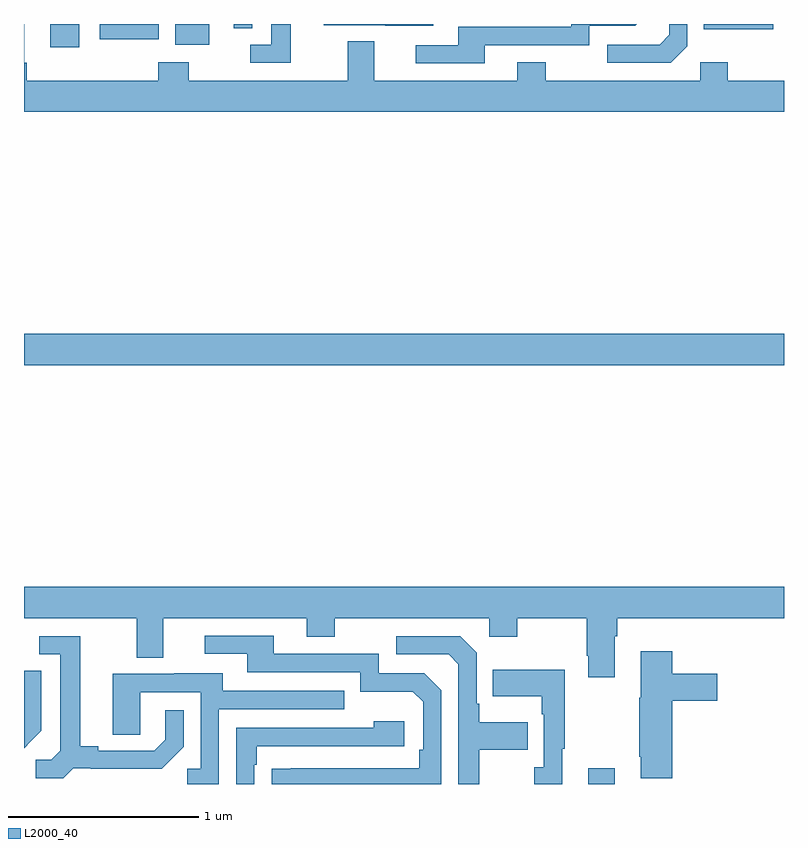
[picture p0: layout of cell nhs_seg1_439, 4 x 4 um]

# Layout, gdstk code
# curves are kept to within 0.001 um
import gdstk
lib = gdstk.Library(unit=1e-6, precision=1e-09)
def R(c, l, rs):  # rectangles x0, y0, x1, y1
    for r in rs: c.add(gdstk.rectangle(r[:2], r[2:], *l))
def P(c, l, *ps):  # polygons
    for p in ps: c.add(gdstk.Polygon(p, *l))
L2000_40 = (2000, 40)

nhs_seg1_439 = lib.new_cell('nhs_seg1_439')
R(nhs_seg1_439, L2000_40, [(137.969,544.199,138.109,544.282), (135,546.404,139,546.568), (135.137,548.076,135.292,548.199), (135.797,548.09,135.976,548.199), (135.399,548.119,135.708,548.199), (138.577,548.171,138.944,548.199), (136.104,548.176,136.2,548.199)])
P(nhs_seg1_439, L2000_40, [(138.492,548.082),(138.492,548.199),(138.396,548.199),(138.396,548.142),(138.345,548.091),(138.069,548.091),(138.069,547.995),(138.405,547.995)],
  [(139,547.9),(138.705,547.9),(138.705,547.999),(138.558,547.999),(138.558,547.9),(137.745,547.9),(137.745,547.999),(137.597,547.999),(137.597,547.9),(136.843,547.9),(136.843,548.108),(136.703,548.108),(136.703,547.9),(135.867,547.9),(135.867,547.999),(135.707,547.999),(135.707,547.9),(135.014,547.9),(135.014,547.996),(135.001,547.996),(135.001,548.199),(135,548.199),(135,547.736),(139,547.736)],
  [(137.155,548.199),(136.577,548.199),(136.577,548.193),(136.901,548.193),(136.901,548.189),(137.155,548.189)],
  [(137.425,548.088),(137.976,548.088),(137.976,548.19),(138.216,548.19),(138.225,548.199),(137.88,548.199),(137.88,548.184),(137.285,548.184),(137.285,548.088),(137.061,548.088),(137.061,547.992),(137.425,547.992)],
  [(136.405,548.199),(136.301,548.199),(136.301,548.091),(136.191,548.091),(136.191,547.995),(136.405,547.995)],
  [(138.109,544.976),(138.122,544.976),(138.122,545.072),(139,545.072),(139,545.236),(135,545.236),(135,545.072),(135.593,545.072),(135.593,544.864),(135.733,544.864),(135.733,545.072),(136.487,545.072),(136.487,544.973),(136.635,544.973),(136.635,545.072),(137.448,545.072),(137.448,544.973),(137.595,544.973),(137.595,545.072),(137.962,545.072),(137.962,544.873),(137.969,544.873),(137.969,544.761),(138.109,544.761)],
  [(137.196,544.692),(137.106,544.782),(136.866,544.782),(136.866,544.884),(136.315,544.884),(136.315,544.98),(135.951,544.98),(135.951,544.884),(136.175,544.884),(136.175,544.788),(136.77,544.788),(136.77,544.685),(137.047,544.685),(137.1,544.632),(137.1,544.378),(137.08,544.378),(137.08,544.281),(136.303,544.28),(136.303,544.199),(137.196,544.199)],
  [(137.395,544.378),(137.651,544.378),(137.651,544.525),(137.395,544.525),(137.395,544.621),(137.382,544.621),(137.382,544.89),(137.295,544.977),(136.959,544.977),(136.959,544.881),(137.235,544.881),(137.286,544.83),(137.286,544.199),(137.395,544.199)],
  [(135.258,544.281),(135.352,544.281),(135.352,544.278),(135.724,544.278),(135.84,544.394),(135.84,544.588),(135.743,544.588),(135.743,544.431),(135.686,544.374),(135.391,544.374),(135.391,544.397),(135.295,544.397),(135.295,544.977),(135.081,544.977),(135.081,544.881),(135.191,544.881),(135.191,544.373),(135.144,544.326),(135.063,544.326),(135.063,544.229),(135.206,544.229)],
  [(138.413,544.637),(138.649,544.637),(138.649,544.779),(138.413,544.779),(138.413,544.897),(138.245,544.897),(138.245,544.653),(138.238,544.653),(138.238,544.342),(138.245,544.342),(138.245,544.23),(138.413,544.23)],
  [(137.833,544.385),(137.845,544.385),(137.845,544.801),(137.467,544.801),(137.467,544.661),(137.724,544.661),(137.724,544.565),(137.736,544.565),(137.736,544.286),(137.685,544.286),(137.685,544.199),(137.833,544.199)],
  [(135.018,544.404),(135.017,544.405),(135.09,544.478),(135.09,544.796),(135,544.796),(135,544.386)],
  [(136.026,544.593),(136.685,544.593),(136.685,544.689),(136.045,544.689),(136.045,544.783),(135.791,544.783),(135.791,544.779),(135.467,544.779),(135.467,544.459),(135.612,544.459),(135.612,544.683),(135.93,544.683),(135.93,544.278),(135.858,544.278),(135.858,544.199),(136.026,544.199)],
  [(136.212,544.301),(136.225,544.301),(136.225,544.398),(137.002,544.398),(137.002,544.528),(136.841,544.528),(136.841,544.494),(136.116,544.494),(136.116,544.199),(136.212,544.199)])

lib.write_gds('nhs_seg1_439.gds')
